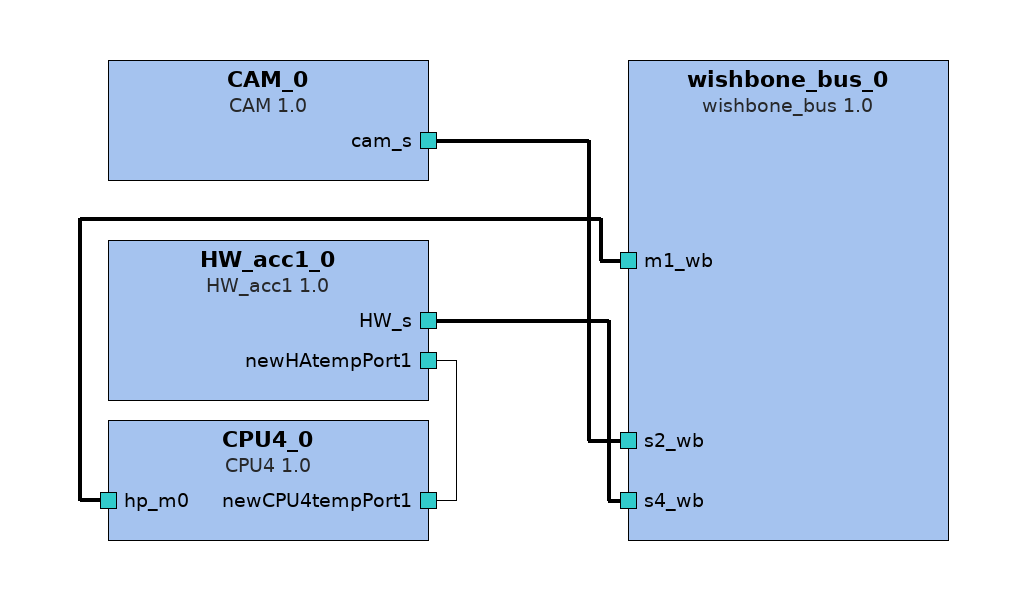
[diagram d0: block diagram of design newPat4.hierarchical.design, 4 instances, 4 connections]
<?xml version="1.0" encoding="UTF-8"?>
<!-- Created by Kactus218:46:49 12.06.2014 -->
<spirit:design xmlns:kactus2="http://funbase.cs.tut.fi/" xmlns:spirit="http://www.spiritconsortium.org/XMLSchema/SPIRIT/1.5" xmlns:xsi="http://www.w3.org/2001/XMLSchema-instance" xsi:schemaLocation="http://www.spiritconsortium.org/XMLSchema/SPIRIT/1.5 http://www.spiritconsortium.org/XMLSchema/SPIRIT/1.5/index.xsd"><spirit:vendor>TUM</spirit:vendor><spirit:library>soc</spirit:library><spirit:name>newPat4.hierarchical.design</spirit:name>
 <spirit:version>1.0</spirit:version><spirit:componentInstances>
 <spirit:componentInstance><spirit:instanceName>wishbone_bus_0</spirit:instanceName><spirit:componentRef spirit:vendor="TUM" spirit:library="soc" spirit:name="wishbone_bus" spirit:version="1.0"/></spirit:componentInstance>
 <spirit:componentInstance><spirit:instanceName>CPU4_0</spirit:instanceName><spirit:componentRef spirit:vendor="TUM" spirit:library="soc" spirit:name="CPU4" spirit:version="1.0"/></spirit:componentInstance>
 <spirit:componentInstance><spirit:instanceName>CAM_0</spirit:instanceName><spirit:componentRef spirit:vendor="TUM" spirit:library="soc" spirit:name="CAM" spirit:version="1.0"/></spirit:componentInstance>
 <spirit:componentInstance><spirit:instanceName>HW_acc1_0</spirit:instanceName><spirit:componentRef spirit:vendor="TUM" spirit:library="soc" spirit:name="HW_acc1" spirit:version="1.0"/></spirit:componentInstance>
</spirit:componentInstances><spirit:interconnections>
 <spirit:interconnection><spirit:name>CPU4_0_hp_m0_to_wishbone_bus_0_m1_wb</spirit:name><spirit:activeInterface spirit:componentRef="CPU4_0" spirit:busRef="hp_m0"/><spirit:activeInterface spirit:componentRef="wishbone_bus_0" spirit:busRef="m1_wb"/></spirit:interconnection>
 <spirit:interconnection><spirit:name>CAM_0_cam_s_to_wishbone_bus_0_s2_wb</spirit:name><spirit:activeInterface spirit:componentRef="CAM_0" spirit:busRef="cam_s"/><spirit:activeInterface spirit:componentRef="wishbone_bus_0" spirit:busRef="s2_wb"/></spirit:interconnection>
 <spirit:interconnection><spirit:name>HW_acc1_0_HW_s_to_wishbone_bus_0_s4_wb</spirit:name><spirit:activeInterface spirit:componentRef="HW_acc1_0" spirit:busRef="HW_s"/><spirit:activeInterface spirit:componentRef="wishbone_bus_0" spirit:busRef="s4_wb"/></spirit:interconnection>
</spirit:interconnections>
 <spirit:adHocConnections><spirit:adHocConnection><spirit:name>HW_acc1_0_newtempPortHA1_to_CPU4_0_newtempPort1</spirit:name><spirit:internalPortReference spirit:componentRef="HW_acc1_0" spirit:portRef="newHAtempPort1" spirit:left="0" spirit:right="0"/><spirit:internalPortReference spirit:componentRef="CPU4_0" spirit:portRef="newCPU4tempPort1" spirit:left="0" spirit:right="0"/></spirit:adHocConnection></spirit:adHocConnections>
</spirit:design>

